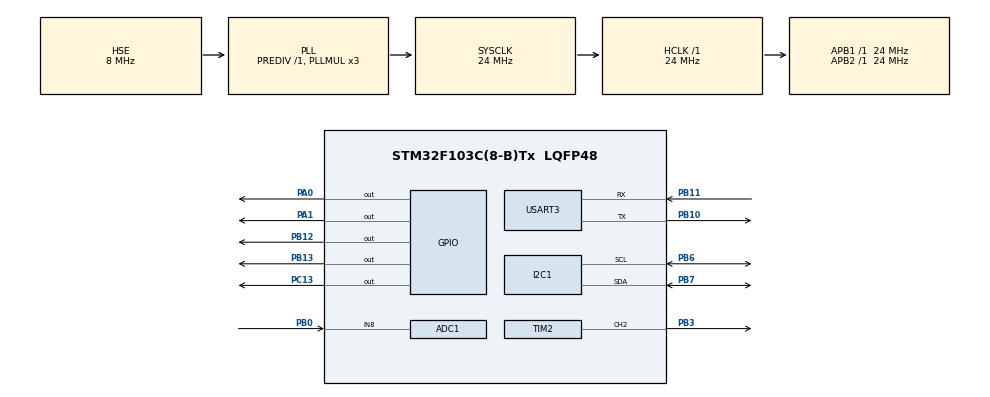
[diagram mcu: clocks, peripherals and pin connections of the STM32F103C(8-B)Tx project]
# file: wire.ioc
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ADC1.Channel-0\#ChannelRegularConversion=ADC_CHANNEL_8
ADC1.NbrOfConversionFlag=1
ADC1.Rank-0\#ChannelRegularConversion=1
ADC1.SamplingTime-0\#ChannelRegularConversion=ADC_SAMPLETIME_1CYCLE_5
ADC1.master=1
Dma.Request0=TIM1_UP
Dma.Request1=TIM1_CH1
Dma.Request2=TIM1_CH2
Dma.Request3=TIM2_CH3
Dma.TIM1_CH1.1.Direction=DMA_MEMORY_TO_PERIPH
Dma.TIM1_CH1.1.Instance=DMA1_Channel2
Dma.TIM1_CH1.1.MemDataAlignment=DMA_MDATAALIGN_HALFWORD
Dma.TIM1_CH1.1.MemInc=DMA_MINC_ENABLE
Dma.TIM1_CH1.1.Mode=DMA_CIRCULAR
Dma.TIM1_CH1.1.PeriphDataAlignment=DMA_PDATAALIGN_HALFWORD
Dma.TIM1_CH1.1.PeriphInc=DMA_PINC_DISABLE
Dma.TIM1_CH1.1.Priority=DMA_PRIORITY_LOW
Dma.TIM1_CH2.2.Direction=DMA_MEMORY_TO_PERIPH
Dma.TIM1_CH2.2.Instance=DMA1_Channel3
Dma.TIM1_CH2.2.MemDataAlignment=DMA_MDATAALIGN_HALFWORD
Dma.TIM1_CH2.2.MemInc=DMA_MINC_ENABLE
Dma.TIM1_CH2.2.Mode=DMA_CIRCULAR
Dma.TIM1_CH2.2.PeriphDataAlignment=DMA_PDATAALIGN_HALFWORD
Dma.TIM1_CH2.2.PeriphInc=DMA_PINC_DISABLE
Dma.TIM1_CH2.2.Priority=DMA_PRIORITY_LOW
Dma.TIM1_UP.0.Direction=DMA_MEMORY_TO_PERIPH
Dma.TIM1_UP.0.Instance=DMA1_Channel5
Dma.TIM1_UP.0.MemDataAlignment=DMA_MDATAALIGN_HALFWORD
Dma.TIM1_UP.0.MemInc=DMA_MINC_ENABLE
Dma.TIM1_UP.0.Mode=DMA_CIRCULAR
Dma.TIM1_UP.0.PeriphDataAlignment=DMA_PDATAALIGN_HALFWORD
Dma.TIM1_UP.0.PeriphInc=DMA_PINC_DISABLE
Dma.TIM1_UP.0.Priority=DMA_PRIORITY_LOW
Dma.TIM2_CH3.3.Direction=DMA_PERIPH_TO_MEMORY
Dma.TIM2_CH3.3.Instance=DMA1_Channel1
Dma.TIM2_CH3.3.MemDataAlignment=DMA_MDATAALIGN_HALFWORD
Dma.TIM2_CH3.3.MemInc=DMA_MINC_ENABLE
Dma.TIM2_CH3.3.Mode=DMA_CIRCULAR
Dma.TIM2_CH3.3.PeriphDataAlignment=DMA_PDATAALIGN_HALFWORD
Dma.TIM2_CH3.3.PeriphInc=DMA_PINC_DISABLE
Dma.TIM2_CH3.3.Priority=DMA_PRIORITY_LOW
Mcu.Family=STM32F1
Mcu.Name=STM32F103C(8-B)Tx
Mcu.Package=LQFP48
NVIC.DMA1_Channel1_IRQn=true\:0\:0\:false\:false\:true\:false\:true\:true
NVIC.DMA1_Channel2_IRQn=true\:0\:0\:false\:false\:true\:false\:true\:true
NVIC.DMA1_Channel3_IRQn=true\:0\:0\:false\:false\:true\:false\:true\:true
NVIC.DMA1_Channel5_IRQn=true\:0\:0\:false\:false\:true\:false\:true\:true
NVIC.PriorityGroup=NVIC_PRIORITYGROUP_4
PA0-WKUP.Signal=GPIO_Output
PA1.Signal=GPIO_Output
PA13.Mode=Serial_Wire
PA13.Signal=SYS_JTMS-SWDIO
PA14.Mode=Serial_Wire
PA14.Signal=SYS_JTCK-SWCLK
PB0.Signal=ADCx_IN8
PB10.Mode=Asynchronous
PB10.Signal=USART3_TX
PB11.Mode=Asynchronous
PB11.Signal=USART3_RX
PB12.Signal=GPIO_Output
PB13.Signal=GPIO_Output
PB3.Signal=S_TIM2_CH2
PB6.Mode=I2C
PB6.Signal=I2C1_SCL
PB7.Mode=I2C
PB7.Signal=I2C1_SDA
PC13-TAMPER-RTC.Signal=GPIO_Output
PD0-OSC_IN.Mode=HSE-External-Oscillator
PD0-OSC_IN.Signal=RCC_OSC_IN
PD1-OSC_OUT.Mode=HSE-External-Oscillator
PD1-OSC_OUT.Signal=RCC_OSC_OUT
ProjectManager.HeapSize=0x200
ProjectManager.StackSize=0x400
ProjectManager.TargetToolchain=STM32CubeIDE
RCC.AHBFreq_Value=24000000
RCC.APB1Freq_Value=24000000
RCC.APB1TimFreq_Value=24000000
RCC.APB2Freq_Value=24000000
RCC.APB2TimFreq_Value=24000000
RCC.HCLKFreq_Value=24000000
RCC.PLLMUL=RCC_PLL_MUL3
RCC.PLLSourceVirtual=RCC_PLLSOURCE_HSE
RCC.SYSCLKFreq_VALUE=24000000
RCC.SYSCLKSource=RCC_SYSCLKSOURCE_PLLCLK
RCC.USBFreq_Value=24000000
SH.ADCx_IN8.0=ADC1_IN8,IN8
SH.S_TIM2_CH2.0=TIM2_CH2,Output Compare2 CH2
TIM1.Channel-Output\ Compare1\ No\ Output=TIM_CHANNEL_1
TIM1.Channel-Output\ Compare2\ No\ Output=TIM_CHANNEL_2
TIM1.OC1Preload=DISABLE
TIM1.Prescaler=200
TIM1.Pulse-Output\ Compare2\ No\ Output=2
TIM1.TIM_MasterOutputTrigger=TIM_TRGO_RESET
TIM2.Channel-Output\ Compare2\ CH2=TIM_CHANNEL_2
TIM2.Channel-Output\ Compare3\ No\ Output=TIM_CHANNEL_3
TIM2.Prescaler=120
TIM2.Pulse-Output\ Compare3\ No\ Output=4
USART3.VirtualMode=VM_ASYNC
VP_TIM1_VS_ClockSourceINT.Mode=Internal
VP_TIM1_VS_no_output1.Mode=Output Compare1 No Output
VP_TIM1_VS_no_output2.Mode=Output Compare2 No Output
VP_TIM2_VS_ClockSourceINT.Mode=Internal
VP_TIM2_VS_no_output3.Mode=Output Compare3 No Output
board=custom

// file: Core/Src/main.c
/* USER CODE BEGIN Header */
/**
  ******************************************************************************
  * @file           : main.c
  * @brief          : Main program body
  ******************************************************************************
  * @attention
  *
  * Copyright (c) 2024 STMicroelectronics.
  * All rights reserved.
  *
  ******************************************************************************
  */
/* USER CODE END Header */
#include "main.h"
#include "adc.h"
#include "dma.h"
#include "i2c.h"
#include "tim.h"
#include "usart.h"
#include "gpio.h"

/* USER CODE BEGIN PV */
// без такой штуки линковщик не может понять что нужно
extern DMA_HandleTypeDef hdma_tim1_up;
extern DMA_HandleTypeDef hdma_tim1_ch1;
extern DMA_HandleTypeDef hdma_tim1_ch2;

extern DMA_HandleTypeDef hdma_tim2_ch3;

/* USER CODE END PV */

void SystemClock_Config(void);

int main(void)
{

  /* USER CODE BEGIN 1 */
	uint16_t buffB[4] = {0x1000, 0x2000,0x2000, 0x1000}; // 12 / 13
	uint16_t buffC[6] = {0x2000, 0x1000, 0x1000, 0x2000, 0x2000, 0x2000}; // 12 / 13
	uint16_t buffA[6] = {0x0002, 0x0001, 0x0001, 0x0002, 0x0002, 0x0002}; // 12 / 13

  /* USER CODE END 1 */

  /* MCU Configuration--------------------------------------------------------*/

  /* Reset of all peripherals, Initializes the Flash interface and the Systick. */
  HAL_Init();

  /* Configure the system clock */
  SystemClock_Config();

  /* Initialize all configured peripherals */
  MX_GPIO_Init();
  MX_DMA_Init();
  MX_ADC1_Init();
  MX_I2C1_Init();
  MX_TIM1_Init();
  MX_TIM2_Init();
  MX_USART3_UART_Init();
  /* USER CODE BEGIN 2 */

/*  HAL_GPIO_WritePin(GPIOC, GPIO_PIN_13, GPIO_PIN_RESET);
  HAL_Delay(500); //светит
  HAL_GPIO_WritePin(GPIOC, GPIO_PIN_13, GPIO_PIN_SET); */

  HAL_DMA_Start(&hdma_tim1_up,  (uint32_t)buffB, (uint32_t)&(GPIOB->ODR), 4); //BSRR
  HAL_TIM_Base_Start(&htim1);   // включить счет таймера
  //  __HAL_TIM_ENABLE(&htim1); // или через макрос

  // Разрешение управлением таймером прерываниями от ДМА
  // https://www.rotr.info/electronics/mcu/stm32f100/stm32_tim1/registers.htm#TIMx_DIER
  TIM1->DIER |= (1 << 8);   // set UDE bit (update dma request enable)
  //__HAL_TIM_ENABLE_DMA(&htim1, TIM_DMA_UPDATE);  // или через макрос

  // https://www.eevblog.com/forum/microcontrollers/stm32f4-dma-mem-gtgpio-triggered-by-timer/
  HAL_DMA_Start(&hdma_tim1_ch1,  (uint32_t)buffA, (uint32_t)&(GPIOA->ODR), 6); //BSRR
  TIM1->DIER |= (1 << 9);						  // без разрешения прерываний нЕработает - set CC1DE
  //__HAL_TIM_ENABLE_DMA(&htim1, TIM_DMA_ID_CC1); // через макрос здесь нЕ заработало, причина непонятна...

  // старт 1 канала  отдельно от основного таймера
  HAL_TIM_OC_Start(&htim1, TIM_CHANNEL_1);

  HAL_TIM_Base_Start(&htim2);
   HAL_DMA_Start(&hdma_tim2_ch3,  (uint32_t)buffC, (uint32_t)&(GPIOC->ODR), 6); //BSRR
   TIM2->DIER |= (1 << 11);						  // без разрешения прерываний нЕработает - set CC3DE
   HAL_TIM_OC_Start(&htim2, TIM_CHANNEL_3);

  /* USER CODE END 2 */

  /* Infinite loop */
  while (1)
  {

  }
}

void SystemClock_Config(void)
{
  RCC_OscInitTypeDef RCC_OscInitStruct = {0};
  RCC_ClkInitTypeDef RCC_ClkInitStruct = {0};
  RCC_PeriphCLKInitTypeDef PeriphClkInit = {0};

  /** Initializes the RCC Oscillators according to the specified parameters
  * in the RCC_OscInitTypeDef structure.
  */
  RCC_OscInitStruct.OscillatorType = RCC_OSCILLATORTYPE_HSE;
  RCC_OscInitStruct.HSEState = RCC_HSE_ON;
  RCC_OscInitStruct.HSEPredivValue = RCC_HSE_PREDIV_DIV1;
  RCC_OscInitStruct.HSIState = RCC_HSI_ON;
  RCC_OscInitStruct.PLL.PLLState = RCC_PLL_ON;
  RCC_OscInitStruct.PLL.PLLSource = RCC_PLLSOURCE_HSE;
  RCC_OscInitStruct.PLL.PLLMUL = RCC_PLL_MUL3;
  if (HAL_RCC_OscConfig(&RCC_OscInitStruct) != HAL_OK)
  {
    Error_Handler();
  }

  /** Initializes the CPU, AHB and APB buses clocks
  */
  RCC_ClkInitStruct.ClockType = RCC_CLOCKTYPE_HCLK|RCC_CLOCKTYPE_SYSCLK
                              |RCC_CLOCKTYPE_PCLK1|RCC_CLOCKTYPE_PCLK2;
  RCC_ClkInitStruct.SYSCLKSource = RCC_SYSCLKSOURCE_PLLCLK;
  RCC_ClkInitStruct.AHBCLKDivider = RCC_SYSCLK_DIV1;
  RCC_ClkInitStruct.APB1CLKDivider = RCC_HCLK_DIV1;
  RCC_ClkInitStruct.APB2CLKDivider = RCC_HCLK_DIV1;

  if (HAL_RCC_ClockConfig(&RCC_ClkInitStruct, FLASH_LATENCY_0) != HAL_OK)
  {
    Error_Handler();
  }
  PeriphClkInit.PeriphClockSelection = RCC_PERIPHCLK_ADC;
  PeriphClkInit.AdcClockSelection = RCC_ADCPCLK2_DIV2;
  if (HAL_RCCEx_PeriphCLKConfig(&PeriphClkInit) != HAL_OK)
  {
    Error_Handler();
  }
}

void Error_Handler(void)
{
  __disable_irq();
  while (1)
  {
  }
}
